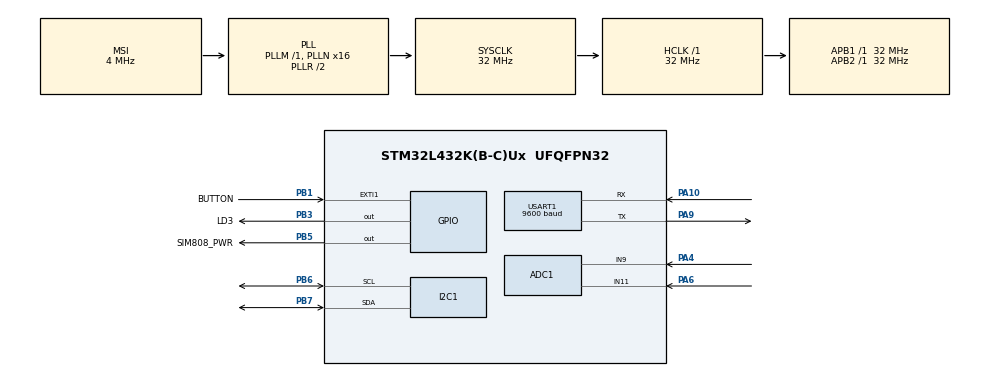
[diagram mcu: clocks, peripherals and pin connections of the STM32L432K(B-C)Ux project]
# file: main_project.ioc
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ADC1.Channel-3\#ChannelRegularConversion=ADC_CHANNEL_9
ADC1.Channel-5\#ChannelRegularConversion=ADC_CHANNEL_11
ADC1.ContinuousConvMode=ENABLE
ADC1.DMAContinuousRequests=ENABLE
ADC1.NbrOfConversion=2
ADC1.NbrOfConversionFlag=1
ADC1.OffsetNumber-3\#ChannelRegularConversion=ADC_OFFSET_NONE
ADC1.OffsetNumber-5\#ChannelRegularConversion=ADC_OFFSET_NONE
ADC1.OversamplingMode=DISABLE
ADC1.Rank-3\#ChannelRegularConversion=1
ADC1.Rank-5\#ChannelRegularConversion=2
ADC1.SamplingTime-3\#ChannelRegularConversion=ADC_SAMPLETIME_640CYCLES_5
ADC1.SamplingTime-5\#ChannelRegularConversion=ADC_SAMPLETIME_12CYCLES_5
ADC1.master=1
Dma.ADC1.0.Direction=DMA_PERIPH_TO_MEMORY
Dma.ADC1.0.Instance=DMA1_Channel1
Dma.ADC1.0.MemDataAlignment=DMA_MDATAALIGN_HALFWORD
Dma.ADC1.0.MemInc=DMA_MINC_ENABLE
Dma.ADC1.0.Mode=DMA_CIRCULAR
Dma.ADC1.0.PeriphDataAlignment=DMA_PDATAALIGN_HALFWORD
Dma.ADC1.0.PeriphInc=DMA_PINC_DISABLE
Dma.ADC1.0.Priority=DMA_PRIORITY_LOW
Dma.Request0=ADC1
Dma.Request1=USART1_RX
Dma.USART1_RX.1.Direction=DMA_PERIPH_TO_MEMORY
Dma.USART1_RX.1.Instance=DMA1_Channel5
Dma.USART1_RX.1.MemDataAlignment=DMA_MDATAALIGN_BYTE
Dma.USART1_RX.1.MemInc=DMA_MINC_ENABLE
Dma.USART1_RX.1.Mode=DMA_NORMAL
Dma.USART1_RX.1.PeriphDataAlignment=DMA_PDATAALIGN_BYTE
Dma.USART1_RX.1.PeriphInc=DMA_PINC_DISABLE
Dma.USART1_RX.1.Priority=DMA_PRIORITY_LOW
I2C1.Timing=0x00707CBB
Mcu.Family=STM32L4
Mcu.Name=STM32L432K(B-C)Ux
Mcu.Package=UFQFPN32
NVIC.DMA1_Channel1_IRQn=true\:0\:0\:false\:true\:true\:1\:false\:true
NVIC.DMA1_Channel5_IRQn=true\:0\:0\:false\:false\:true\:false\:true
NVIC.EXTI1_IRQn=true\:1\:0\:true\:false\:true\:true\:true
NVIC.I2C1_EV_IRQn=true\:0\:0\:true\:false\:true\:true\:true
NVIC.PriorityGroup=NVIC_PRIORITYGROUP_4
NVIC.RTC_WKUP_IRQn=true\:0\:0\:false\:true\:true\:2\:true\:true
NVIC.USART1_IRQn=true\:0\:0\:false\:false\:true\:true\:true
PA0.Mode=HSE-External-Clock-Source-for-LittleOrca
PA0.Signal=RCC_CK_IN
PA10.Mode=Asynchronous
PA10.Signal=USART1_RX
PA13\ (JTMS-SWDIO).Mode=Serial_Wire
PA13\ (JTMS-SWDIO).Signal=SYS_JTMS-SWDIO
PA14\ (JTCK-SWCLK).Mode=Serial_Wire
PA14\ (JTCK-SWCLK).Signal=SYS_JTCK-SWCLK
PA15\ (JTDI).GPIO_ModeDefaultPP=GPIO_MODE_AF_PP
PA15\ (JTDI).GPIO_PuPd=GPIO_NOPULL
PA15\ (JTDI).GPIO_Speed=GPIO_SPEED_FREQ_VERY_HIGH
PA15\ (JTDI).Signal=USART2_RX
PA2.GPIO_ModeDefaultPP=GPIO_MODE_AF_PP
PA2.GPIO_PuPd=GPIO_NOPULL
PA2.GPIO_Speed=GPIO_SPEED_FREQ_VERY_HIGH
PA2.Signal=USART2_TX
PA4.Signal=ADCx_IN9
PA6.Signal=ADCx_IN11
PA9.Mode=Asynchronous
PA9.Signal=USART1_TX
PB1.GPIO_Label=BUTTON
PB1.GPIO_ModeDefaultEXTI=GPIO_MODE_IT_FALLING
PB1.Signal=GPXTI1
PB3\ (JTDO-TRACESWO).GPIO_Label=LD3
PB3\ (JTDO-TRACESWO).GPIO_ModeDefaultOutputPP=GPIO_MODE_OUTPUT_PP
PB3\ (JTDO-TRACESWO).GPIO_PuPd=GPIO_NOPULL
PB3\ (JTDO-TRACESWO).GPIO_Speed=GPIO_SPEED_FREQ_LOW
PB3\ (JTDO-TRACESWO).PinState=GPIO_PIN_RESET
PB3\ (JTDO-TRACESWO).Signal=GPIO_Output
PB5.GPIO_Label=SIM808_PWR
PB5.Signal=GPIO_Output
PB6.Mode=I2C
PB6.Signal=I2C1_SCL
PB7.Mode=I2C
PB7.Signal=I2C1_SDA
PC14-OSC32_IN\ (PC14).Mode=LSE-External-Oscillator
PC14-OSC32_IN\ (PC14).Signal=RCC_OSC32_IN
PC15-OSC32_OUT\ (PC15).Mode=LSE-External-Oscillator
PC15-OSC32_OUT\ (PC15).Signal=RCC_OSC32_OUT
ProjectManager.HeapSize=0x200
ProjectManager.StackSize=0x400
ProjectManager.TargetToolchain=STM32CubeIDE
RCC.ADCFreq_Value=32000000
RCC.AHBFreq_Value=32000000
RCC.APB1Freq_Value=32000000
RCC.APB1TimFreq_Value=32000000
RCC.APB2Freq_Value=32000000
RCC.APB2TimFreq_Value=32000000
RCC.CortexFreq_Value=32000000
RCC.HCLKFreq_Value=32000000
RCC.HSE_VALUE=8000000
RCC.HSI16_VALUE=16000000
RCC.HSI48_VALUE=48000000
RCC.HSI_VALUE=16000000
RCC.MSI_VALUE=4000000
RCC.PLLMUL=RCC_PLLMUL_4
RCC.PLLN=16
RCC.PLLSAI1N=16
RCC.RTCClockSelection=RCC_RTCCLKSOURCE_LSE
RCC.SYSCLKFreq_VALUE=32000000
RCC.SYSCLKSource=RCC_SYSCLKSOURCE_PLLCLK
RCC.USBFreq_Value=32000000
RCC.VCOOutputFreq_Value=64000000
RTC.Date=12
RTC.Month=RTC_MONTH_SEPTEMBER
RTC.WeekDay=RTC_WEEKDAY_SUNDAY
RTC.Year=99
SH.ADCx_IN11.0=ADC1_IN11,IN11-Single-Ended
SH.ADCx_IN9.0=ADC1_IN9,IN9-Single-Ended
USART1.BaudRate=9600
USART1.VirtualMode-Asynchronous=VM_ASYNC
VP_RTC_VS_RTC_Activate.Mode=RTC_Enabled
VP_RTC_VS_RTC_Calendar.Mode=RTC_Calendar
VP_RTC_VS_RTC_WakeUp_intern.Mode=WakeUp
board=NUCLEO-L432KC

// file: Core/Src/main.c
/* USER CODE BEGIN Header */
/**
  ******************************************************************************
  * @file           : main.c
  * @brief          : Main program body
  ******************************************************************************
  * @attention
  *
  * <h2><center>&copy; Copyright (c) 2020 STMicroelectronics.
  * All rights reserved.</center></h2>
  *
  * This software component is licensed by ST under BSD 3-Clause license,
  * the "License"; You may not use this file except in compliance with the
  * License. You may obtain a copy of the License at:
  *                        opensource.org/licenses/BSD-3-Clause
  *
  ******************************************************************************
  */
/* USER CODE END Header */
#include "main.h"

/* USER CODE BEGIN Includes */
#include "shared_variables.h"
#include "includes.h"
#include "eeprom.h"
#include "power_modes.h"
#include "sim808.h"
#include "sensors.h"
/* USER CODE END Includes */

/* USER CODE BEGIN PM */
#define NUM_OF_MEASUREMENTS 		2
#define FILTER_BUFFER_SIZE			1000
#define MAX_ADC_VALUE				4095

//tests
#define CARBON_MONOXIDE_THIRD_TIER	1434

//debug features - logging, raw measurements...
#define DEBUG_MODE
/* USER CODE END PM */

ADC_HandleTypeDef hadc1;
DMA_HandleTypeDef hdma_adc1;

I2C_HandleTypeDef hi2c1;

RTC_HandleTypeDef hrtc;

UART_HandleTypeDef huart1;
DMA_HandleTypeDef hdma_usart1_rx;

/* USER CODE BEGIN PV */
uint16_t adc_vals[NUM_OF_MEASUREMENTS] = {0};
uint16_t measured_values[NUM_OF_MEASUREMENTS];  //in mV
double measured_values_double[NUM_OF_MEASUREMENTS];  //in mV
uint16_t filter_buffer_sensor[FILTER_BUFFER_SIZE];
uint16_t filter_buffer_battery[FILTER_BUFFER_SIZE];
uint16_t filter_counter = 0;
uint8_t filter_done = 0;

uint32_t holder[NUM_OF_MEASUREMENTS] = {0};

struct sensor_data sd;
ERRORS last_error = NULL_STATE;

#ifdef DEBUG_MODE
uint32_t holder_debug[NUM_OF_MEASUREMENTS] = {0};
#endif
/* USER CODE END PV */

void SystemClock_Config(void);
static void MX_GPIO_Init(void);
static void MX_DMA_Init(void);
static void MX_ADC1_Init(void);
static void MX_I2C1_Init(void);
static void MX_RTC_Init(void);
static void MX_USART1_UART_Init(void);
static void MX_NVIC_Init(void);
/* USER CODE BEGIN PFP */

void signal_with_diodes_ms(int num_of_loops, uint32_t ms);
void signal_error(ERRORS err);
ERRORS check_if_threshold_level_exceeded(uint16_t value);
void reinitializePeriphs();
void single_measurement(uint16_t delay_after_measurement);
void send_sms(char* text);

void HAL_GPIO_EXTI_Callback(uint16_t GPIO_Pin);
/* USER CODE END PFP */

int main(void)
{

  /* MCU Configuration--------------------------------------------------------*/

  /* Reset of all peripherals, Initializes the Flash interface and the Systick. */
  HAL_Init();

  /* Configure the system clock */
  SystemClock_Config();

  /* Initialize all configured peripherals */
  MX_GPIO_Init();
  MX_DMA_Init();
  MX_ADC1_Init();
  MX_I2C1_Init();
  MX_RTC_Init();
  MX_USART1_UART_Init();

  /* Initialize interrupts */
  MX_NVIC_Init();
  /* USER CODE BEGIN 2 */
  button_pressed = 0;

#ifdef DEBUG_MODE
  HAL_GPIO_WritePin(LD3_GPIO_Port, LD3_Pin, GPIO_PIN_SET);
#endif
  last_error=read_sensor_data_from_eeprom(&sd);
  #ifdef DEBUG_MODE
  show_read_sensor_data(&sd);
  #endif

#ifdef DEBUG_MODE
  HAL_GPIO_WritePin(LD3_GPIO_Port, LD3_Pin, GPIO_PIN_RESET);
#endif
  uint16_t max_value1 = 0;
  uint16_t carbon_monoxide_measurements[CARBON_MONOXIDE_TWO_MINUTES];
  uint16_t carbon_monoxide_measurements_buffer[CARBON_MONOXIDE_TWO_MINUTES];
  uint8_t carbon_monoxide_triggered = 0;
  double avg = 0;
  uint8_t carbon_monoxide_buffer_full = 0;
  int loop_counter = 0;
  /* USER CODE END 2 */

  /* Infinite loop */
  /* USER CODE BEGIN WHILE */
  while (1)
  {
	  if(last_error == OK)
	  {
		  if(sd.sensor_type == ETHANOL) {
			  if(!loop_counter) {
				  power_mode_sleep(&hrtc, INFINITE_SLEEP_TIME); //or just sleep until interrupt comes.
				  reinitializePeriphs();
				  avg = 0;
			  }
			  if(loop_counter != ETHANOL_LOOPS)
			  {
				  loop_counter++;
				  single_measurement(ETHANOL_DELAY_BETWEEN_MEASUREMENTS);
				  //max_value1=(measured_values[0]>max_value1)?measured_values[0]:max_value1;
				  avg+=measured_values[0];
			  }
			  else
			  {
				  avg/=ETHANOL_LOOPS;
				  loop_counter = 0;
				  char* buffer = (char*)malloc(140);
				  double holder = (avg-200)/27.65;
				  double brac = (holder/260);
				  double bac = brac*2.1;
				  sprintf(buffer,"Wynik BrAC: %.2f. Wynik BAC: %.2f", brac, bac);
//				  sprintf(buffer,"Wynik[ADC]: measured[0] %u", max_value1);
//				  send_sms(buffer);
				  button_pressed = 0;
			  }
		  }
		  else {
//			  if(loop_counter == CARBON_MONOXIDE_THREE_MINUTES)
//			  {
//				  uint32_t avg;
//				  for(int i=0;i<CARBON_MONOXIDE_THREE_MINUTES;++i)
//				  {
//					  avg+=carbon_monoxide_measurements[i];
//				  }
//				  avg /= CARBON_MONOXIDE_THREE_MINUTES;
////				  last_error = check_if_threshold_level_exceeded(avg);
//				  char* buffer = (char*)malloc(140);
//				  sprintf(buffer,"Wynik[ADC]: measured[0] %u", avg);
//				  send_sms(buffer);
//			  }
//			  else
//			  {
//				  carbon_monoxide_measurements[loop_counter] = measured_values[0];
//				  loop_counter++;
//			  }
			  power_mode_sleep(&hrtc, CARBON_MONOXIDE_SLEEP_TIME);
			  reinitializePeriphs();
			  single_measurement(STANDARD_DELAY_AFTER_MEASUREMENT);
			  if(carbon_monoxide_buffer_full)
			  {
				  for(uint8_t i=1;i<CARBON_MONOXIDE_TWO_MINUTES; ++i)
				  {
					  carbon_monoxide_measurements[i-1]=carbon_monoxide_measurements[i];
					  avg+=carbon_monoxide_measurements[i];
				  }
				  carbon_monoxide_measurements[CARBON_MONOXIDE_TWO_MINUTES-1] = measured_values[0];
				  avg+= carbon_monoxide_measurements[CARBON_MONOXIDE_TWO_MINUTES-1];
				  avg /= CARBON_MONOXIDE_TWO_MINUTES;
				  if(avg >= CARBON_MONOXIDE_THIRD_TIER)
				  {
					  HAL_GPIO_WritePin(LD3_GPIO_Port, LD3_Pin, GPIO_PIN_SET);
				  }
				  else HAL_GPIO_WritePin(LD3_GPIO_Port, LD3_Pin, GPIO_PIN_RESET);
			  }
			  else
			  {
				  carbon_monoxide_measurements[loop_counter] = measured_values[0];
				  loop_counter++;
				  if(loop_counter == CARBON_MONOXIDE_TWO_MINUTES)
					  carbon_monoxide_buffer_full=1;
			  }
		  }
	  }
	  else
	  {
		  signal_error(last_error);
		  while(1)
		  {
			  HAL_Delay(1000);
		  }
	  }
    /* USER CODE END WHILE */

  }
}

void SystemClock_Config(void)
{
  RCC_OscInitTypeDef RCC_OscInitStruct = {0};
  RCC_ClkInitTypeDef RCC_ClkInitStruct = {0};
  RCC_PeriphCLKInitTypeDef PeriphClkInit = {0};

  /** Configure LSE Drive Capability
  */
  HAL_PWR_EnableBkUpAccess();
  __HAL_RCC_LSEDRIVE_CONFIG(RCC_LSEDRIVE_LOW);
  /** Initializes the RCC Oscillators according to the specified parameters
  * in the RCC_OscInitTypeDef structure.
  */
  RCC_OscInitStruct.OscillatorType = RCC_OSCILLATORTYPE_LSE|RCC_OSCILLATORTYPE_MSI;
  RCC_OscInitStruct.LSEState = RCC_LSE_ON;
  RCC_OscInitStruct.MSIState = RCC_MSI_ON;
  RCC_OscInitStruct.MSICalibrationValue = 0;
  RCC_OscInitStruct.MSIClockRange = RCC_MSIRANGE_6;
  RCC_OscInitStruct.PLL.PLLState = RCC_PLL_ON;
  RCC_OscInitStruct.PLL.PLLSource = RCC_PLLSOURCE_MSI;
  RCC_OscInitStruct.PLL.PLLM = 1;
  RCC_OscInitStruct.PLL.PLLN = 16;
  RCC_OscInitStruct.PLL.PLLP = RCC_PLLP_DIV7;
  RCC_OscInitStruct.PLL.PLLQ = RCC_PLLQ_DIV2;
  RCC_OscInitStruct.PLL.PLLR = RCC_PLLR_DIV2;
  if (HAL_RCC_OscConfig(&RCC_OscInitStruct) != HAL_OK)
  {
    Error_Handler();
  }
  /** Initializes the CPU, AHB and APB buses clocks
  */
  RCC_ClkInitStruct.ClockType = RCC_CLOCKTYPE_HCLK|RCC_CLOCKTYPE_SYSCLK
                              |RCC_CLOCKTYPE_PCLK1|RCC_CLOCKTYPE_PCLK2;
  RCC_ClkInitStruct.SYSCLKSource = RCC_SYSCLKSOURCE_PLLCLK;
  RCC_ClkInitStruct.AHBCLKDivider = RCC_SYSCLK_DIV1;
  RCC_ClkInitStruct.APB1CLKDivider = RCC_HCLK_DIV1;
  RCC_ClkInitStruct.APB2CLKDivider = RCC_HCLK_DIV1;

  if (HAL_RCC_ClockConfig(&RCC_ClkInitStruct, FLASH_LATENCY_1) != HAL_OK)
  {
    Error_Handler();
  }
  PeriphClkInit.PeriphClockSelection = RCC_PERIPHCLK_RTC|RCC_PERIPHCLK_USART1
                              |RCC_PERIPHCLK_I2C1|RCC_PERIPHCLK_ADC;
  PeriphClkInit.Usart1ClockSelection = RCC_USART1CLKSOURCE_PCLK2;
  PeriphClkInit.I2c1ClockSelection = RCC_I2C1CLKSOURCE_PCLK1;
  PeriphClkInit.AdcClockSelection = RCC_ADCCLKSOURCE_PLLSAI1;
  PeriphClkInit.RTCClockSelection = RCC_RTCCLKSOURCE_LSE;
  PeriphClkInit.PLLSAI1.PLLSAI1Source = RCC_PLLSOURCE_MSI;
  PeriphClkInit.PLLSAI1.PLLSAI1M = 1;
  PeriphClkInit.PLLSAI1.PLLSAI1N = 16;
  PeriphClkInit.PLLSAI1.PLLSAI1P = RCC_PLLP_DIV7;
  PeriphClkInit.PLLSAI1.PLLSAI1Q = RCC_PLLQ_DIV2;
  PeriphClkInit.PLLSAI1.PLLSAI1R = RCC_PLLR_DIV2;
  PeriphClkInit.PLLSAI1.PLLSAI1ClockOut = RCC_PLLSAI1_ADC1CLK;
  if (HAL_RCCEx_PeriphCLKConfig(&PeriphClkInit) != HAL_OK)
  {
    Error_Handler();
  }
  /** Configure the main internal regulator output voltage
  */
  if (HAL_PWREx_ControlVoltageScaling(PWR_REGULATOR_VOLTAGE_SCALE1) != HAL_OK)
  {
    Error_Handler();
  }
  /** Enable MSI Auto calibration
  */
  HAL_RCCEx_EnableMSIPLLMode();
}

/**
  * @brief NVIC Configuration.
  * @retval None
  */
static void MX_NVIC_Init(void)
{
  /* DMA1_Channel1_IRQn interrupt configuration */
  HAL_NVIC_SetPriority(DMA1_Channel1_IRQn, 0, 0);
  HAL_NVIC_EnableIRQ(DMA1_Channel1_IRQn);
  /* RTC_WKUP_IRQn interrupt configuration */
  HAL_NVIC_SetPriority(RTC_WKUP_IRQn, 0, 0);
  HAL_NVIC_EnableIRQ(RTC_WKUP_IRQn);
}

static void MX_ADC1_Init(void)
{

  ADC_ChannelConfTypeDef sConfig = {0};

  /** Common config
  */
  hadc1.Instance = ADC1;
  hadc1.Init.ClockPrescaler = ADC_CLOCK_ASYNC_DIV1;
  hadc1.Init.Resolution = ADC_RESOLUTION_12B;
  hadc1.Init.DataAlign = ADC_DATAALIGN_RIGHT;
  hadc1.Init.ScanConvMode = ADC_SCAN_ENABLE;
  hadc1.Init.EOCSelection = ADC_EOC_SINGLE_CONV;
  hadc1.Init.LowPowerAutoWait = DISABLE;
  hadc1.Init.ContinuousConvMode = ENABLE;
  hadc1.Init.NbrOfConversion = 2;
  hadc1.Init.DiscontinuousConvMode = DISABLE;
  hadc1.Init.ExternalTrigConv = ADC_SOFTWARE_START;
  hadc1.Init.ExternalTrigConvEdge = ADC_EXTERNALTRIGCONVEDGE_NONE;
  hadc1.Init.DMAContinuousRequests = ENABLE;
  hadc1.Init.Overrun = ADC_OVR_DATA_PRESERVED;
  hadc1.Init.OversamplingMode = DISABLE;
  if (HAL_ADC_Init(&hadc1) != HAL_OK)
  {
    Error_Handler();
  }
  /** Configure Regular Channel
  */
  sConfig.Channel = ADC_CHANNEL_9;
  sConfig.Rank = ADC_REGULAR_RANK_1;
  sConfig.SamplingTime = ADC_SAMPLETIME_640CYCLES_5;
  sConfig.SingleDiff = ADC_SINGLE_ENDED;
  sConfig.OffsetNumber = ADC_OFFSET_NONE;
  sConfig.Offset = 0;
  if (HAL_ADC_ConfigChannel(&hadc1, &sConfig) != HAL_OK)
  {
    Error_Handler();
  }
  /** Configure Regular Channel
  */
  sConfig.Channel = ADC_CHANNEL_11;
  sConfig.Rank = ADC_REGULAR_RANK_2;
  sConfig.SamplingTime = ADC_SAMPLETIME_12CYCLES_5;
  if (HAL_ADC_ConfigChannel(&hadc1, &sConfig) != HAL_OK)
  {
    Error_Handler();
  }

}

static void MX_I2C1_Init(void)
{

  hi2c1.Instance = I2C1;
  hi2c1.Init.Timing = 0x00707CBB;
  hi2c1.Init.OwnAddress1 = 0;
  hi2c1.Init.AddressingMode = I2C_ADDRESSINGMODE_7BIT;
  hi2c1.Init.DualAddressMode = I2C_DUALADDRESS_DISABLE;
  hi2c1.Init.OwnAddress2 = 0;
  hi2c1.Init.OwnAddress2Masks = I2C_OA2_NOMASK;
  hi2c1.Init.GeneralCallMode = I2C_GENERALCALL_DISABLE;
  hi2c1.Init.NoStretchMode = I2C_NOSTRETCH_DISABLE;
  if (HAL_I2C_Init(&hi2c1) != HAL_OK)
  {
    Error_Handler();
  }
  /** Configure Analogue filter
  */
  if (HAL_I2CEx_ConfigAnalogFilter(&hi2c1, I2C_ANALOGFILTER_ENABLE) != HAL_OK)
  {
    Error_Handler();
  }
  /** Configure Digital filter
  */
  if (HAL_I2CEx_ConfigDigitalFilter(&hi2c1, 0) != HAL_OK)
  {
    Error_Handler();
  }

}

static void MX_RTC_Init(void)
{

  RTC_TimeTypeDef sTime = {0};
  RTC_DateTypeDef sDate = {0};

  /** Initialize RTC Only
  */
  hrtc.Instance = RTC;
  hrtc.Init.HourFormat = RTC_HOURFORMAT_24;
  hrtc.Init.AsynchPrediv = 127;
  hrtc.Init.SynchPrediv = 255;
  hrtc.Init.OutPut = RTC_OUTPUT_DISABLE;
  hrtc.Init.OutPutRemap = RTC_OUTPUT_REMAP_NONE;
  hrtc.Init.OutPutPolarity = RTC_OUTPUT_POLARITY_HIGH;
  hrtc.Init.OutPutType = RTC_OUTPUT_TYPE_OPENDRAIN;
  if (HAL_RTC_Init(&hrtc) != HAL_OK)
  {
    Error_Handler();
  }

  /** Initialize RTC and set the Time and Date
  */
  sTime.Hours = 0x0;
  sTime.Minutes = 0x0;
  sTime.Seconds = 0x0;
  sTime.DayLightSaving = RTC_DAYLIGHTSAVING_NONE;
  sTime.StoreOperation = RTC_STOREOPERATION_RESET;
  if (HAL_RTC_SetTime(&hrtc, &sTime, RTC_FORMAT_BCD) != HAL_OK)
  {
    Error_Handler();
  }
  sDate.WeekDay = RTC_WEEKDAY_SUNDAY;
  sDate.Month = RTC_MONTH_SEPTEMBER;
  sDate.Date = 0x12;
  sDate.Year = 0x99;

  if (HAL_RTC_SetDate(&hrtc, &sDate, RTC_FORMAT_BCD) != HAL_OK)
  {
    Error_Handler();
  }
  /** Enable the WakeUp
  */
//  if (HAL_RTCEx_SetWakeUpTimer_IT(&hrtc, 0, RTC_WAKEUPCLOCK_RTCCLK_DIV16) != HAL_OK)
//  {
//    Error_Handler();
//  }

}

static void MX_USART1_UART_Init(void)
{

  huart1.Instance = USART1;
  huart1.Init.BaudRate = 9600;
  huart1.Init.WordLength = UART_WORDLENGTH_8B;
  huart1.Init.StopBits = UART_STOPBITS_1;
  huart1.Init.Parity = UART_PARITY_NONE;
  huart1.Init.Mode = UART_MODE_TX_RX;
  huart1.Init.HwFlowCtl = UART_HWCONTROL_NONE;
  huart1.Init.OverSampling = UART_OVERSAMPLING_16;
  huart1.Init.OneBitSampling = UART_ONE_BIT_SAMPLE_DISABLE;
  huart1.AdvancedInit.AdvFeatureInit = UART_ADVFEATURE_NO_INIT;
  if (HAL_UART_Init(&huart1) != HAL_OK)
  {
    Error_Handler();
  }

}

static void MX_DMA_Init(void)
{

  /* DMA controller clock enable */
  __HAL_RCC_DMA1_CLK_ENABLE();

  /* DMA interrupt init */
  /* DMA1_Channel5_IRQn interrupt configuration */
  HAL_NVIC_SetPriority(DMA1_Channel5_IRQn, 0, 0);
  HAL_NVIC_EnableIRQ(DMA1_Channel5_IRQn);

}

static void MX_GPIO_Init(void)
{
  GPIO_InitTypeDef GPIO_InitStruct = {0};

  /* GPIO Ports Clock Enable */
  __HAL_RCC_GPIOC_CLK_ENABLE();
  __HAL_RCC_GPIOA_CLK_ENABLE();
  __HAL_RCC_GPIOB_CLK_ENABLE();
  __HAL_RCC_GPIOH_CLK_ENABLE();

  /*Configure GPIO pin Output Level */
  HAL_GPIO_WritePin(GPIOB, LD3_Pin|SIM808_PWR_Pin, GPIO_PIN_RESET);

  /*Configure GPIO pins : PA1 PA3 PA5 PA7
                           PA8 PA11 PA12 */
  GPIO_InitStruct.Pin = GPIO_PIN_1|GPIO_PIN_3|GPIO_PIN_5|GPIO_PIN_7
                          |GPIO_PIN_8|GPIO_PIN_11|GPIO_PIN_12;
  GPIO_InitStruct.Mode = GPIO_MODE_ANALOG;
  GPIO_InitStruct.Pull = GPIO_NOPULL;
  HAL_GPIO_Init(GPIOA, &GPIO_InitStruct);

  /*Configure GPIO pin : PA2 */
  GPIO_InitStruct.Pin = GPIO_PIN_2;
  GPIO_InitStruct.Mode = GPIO_MODE_AF_PP;
  GPIO_InitStruct.Pull = GPIO_NOPULL;
  GPIO_InitStruct.Speed = GPIO_SPEED_FREQ_VERY_HIGH;
  GPIO_InitStruct.Alternate = GPIO_AF7_USART2;
  HAL_GPIO_Init(GPIOA, &GPIO_InitStruct);

  /*Configure GPIO pins : PB0 PB4 */
  GPIO_InitStruct.Pin = GPIO_PIN_0|GPIO_PIN_4;
  GPIO_InitStruct.Mode = GPIO_MODE_ANALOG;
  GPIO_InitStruct.Pull = GPIO_NOPULL;
  HAL_GPIO_Init(GPIOB, &GPIO_InitStruct);

  /*Configure GPIO pin : BUTTON_Pin */
  GPIO_InitStruct.Pin = BUTTON_Pin;
  GPIO_InitStruct.Mode = GPIO_MODE_IT_FALLING;
  GPIO_InitStruct.Pull = GPIO_NOPULL;
  HAL_GPIO_Init(BUTTON_GPIO_Port, &GPIO_InitStruct);

  /*Configure GPIO pin : PA15 */
  GPIO_InitStruct.Pin = GPIO_PIN_15;
  GPIO_InitStruct.Mode = GPIO_MODE_AF_PP;
  GPIO_InitStruct.Pull = GPIO_NOPULL;
  GPIO_InitStruct.Speed = GPIO_SPEED_FREQ_VERY_HIGH;
  GPIO_InitStruct.Alternate = GPIO_AF3_USART2;
  HAL_GPIO_Init(GPIOA, &GPIO_InitStruct);

  /*Configure GPIO pins : LD3_Pin SIM808_PWR_Pin */
  GPIO_InitStruct.Pin = LD3_Pin|SIM808_PWR_Pin;
  GPIO_InitStruct.Mode = GPIO_MODE_OUTPUT_PP;
  GPIO_InitStruct.Pull = GPIO_NOPULL;
  GPIO_InitStruct.Speed = GPIO_SPEED_FREQ_LOW;
  HAL_GPIO_Init(GPIOB, &GPIO_InitStruct);

  /*Configure GPIO pin : PH3 */
  GPIO_InitStruct.Pin = GPIO_PIN_3;
  GPIO_InitStruct.Mode = GPIO_MODE_ANALOG;
  GPIO_InitStruct.Pull = GPIO_NOPULL;
  HAL_GPIO_Init(GPIOH, &GPIO_InitStruct);

  /* EXTI interrupt init*/
  HAL_NVIC_SetPriority(EXTI1_IRQn, 1, 0);
  HAL_NVIC_EnableIRQ(EXTI1_IRQn);

}

/* USER CODE BEGIN 4 */
void reinitializePeriphs()
{
	SystemClock_Config();
	MX_GPIO_Init();
	MX_ADC1_Init();
	MX_I2C1_Init();
	MX_DMA_Init();
	HAL_UART_MspInit(&huart1);
	MX_USART1_UART_Init();
//	HAL_UART_MspInit(&huart2);
//	MX_USART2_UART_Init();
}

/*
 * TODO
 * leave one port/PIN for Ethanol sensor to wake up from the button press
 */
void GPIO_AnalogState_Config()
{
	GPIO_InitTypeDef GPIO_InitStruct;

	__HAL_RCC_GPIOA_CLK_ENABLE();
	__HAL_RCC_GPIOB_CLK_ENABLE();
	__HAL_RCC_GPIOC_CLK_ENABLE();
	__HAL_RCC_GPIOH_CLK_ENABLE();

	GPIO_InitStruct.Mode = GPIO_MODE_ANALOG;
	GPIO_InitStruct.Speed = GPIO_SPEED_FREQ_VERY_HIGH;
	GPIO_InitStruct.Pull = GPIO_NOPULL;

	GPIO_InitStruct.Pin = GPIO_PIN_All & ~(GPIO_PIN_13 | GPIO_PIN_14);
	HAL_GPIO_Init(GPIOA, &GPIO_InitStruct);
	GPIO_InitStruct.Pin = GPIO_PIN_All & ~(BUTTON_Pin);
	HAL_GPIO_Init(GPIOB, &GPIO_InitStruct);
	HAL_GPIO_Init(GPIOC, &GPIO_InitStruct);
	HAL_GPIO_Init(GPIOH, &GPIO_InitStruct);

	__HAL_RCC_GPIOA_CLK_DISABLE();
	__HAL_RCC_GPIOB_CLK_DISABLE();
	__HAL_RCC_GPIOC_CLK_DISABLE();
	__HAL_RCC_GPIOH_CLK_DISABLE();
}

void SystemClock_Low(void)
{
  RCC_ClkInitTypeDef RCC_ClkInitStruct = {0};
  RCC_OscInitTypeDef RCC_OscInitStruct = {0};

  /* MSI is enabled after System reset, update MSI to 24Mhz (RCC_MSIRANGE_9) */
  RCC_OscInitStruct.OscillatorType = RCC_OSCILLATORTYPE_MSI;
  RCC_OscInitStruct.MSIState = RCC_MSI_ON;
  RCC_OscInitStruct.MSIClockRange = RCC_MSIRANGE_0;
  RCC_OscInitStruct.MSICalibrationValue = RCC_MSICALIBRATION_DEFAULT;
  RCC_OscInitStruct.PLL.PLLState = RCC_PLL_OFF;
  if(HAL_RCC_OscConfig(&RCC_OscInitStruct) != HAL_OK)
  {
    /* Initialization Error */
    Error_Handler();
  }

  /* Select MSI as system clock source and configure the HCLK, PCLK1 and PCLK2
     clocks dividers */
  RCC_ClkInitStruct.ClockType = (RCC_CLOCKTYPE_SYSCLK | RCC_CLOCKTYPE_HCLK | RCC_CLOCKTYPE_PCLK1 | RCC_CLOCKTYPE_PCLK2);
  RCC_ClkInitStruct.SYSCLKSource = RCC_SYSCLKSOURCE_MSI;
  RCC_ClkInitStruct.AHBCLKDivider = RCC_SYSCLK_DIV1;
  RCC_ClkInitStruct.APB1CLKDivider = RCC_HCLK_DIV1;
  RCC_ClkInitStruct.APB2CLKDivider = RCC_HCLK_DIV1;
  if(HAL_RCC_ClockConfig(&RCC_ClkInitStruct, FLASH_LATENCY_3) != HAL_OK)
  {
    /* Initialization Error */
    Error_Handler();
  }

}

void HAL_ADC_ConvCpltCallback(ADC_HandleTypeDef* hadc)
{
		if(!filter_done)
		{
			filter_buffer_sensor[filter_counter] = adc_vals[0];
			filter_buffer_battery[filter_counter] = adc_vals[1];

			if(filter_counter == FILTER_BUFFER_SIZE-1)
			{
				for(int i=0;i<FILTER_BUFFER_SIZE;++i)
				{
					holder[0] += filter_buffer_sensor[i];
					holder[1] += filter_buffer_battery[i];
				}
				for(int i=0;i<NUM_OF_MEASUREMENTS;++i)
				{
					measured_values_double[i] = 54 + ((holder[i]/FILTER_BUFFER_SIZE)*3300)/MAX_ADC_VALUE;
					measured_values[i] = (uint16_t)measured_values_double[i];
					holder[i] = 0;
				}
				filter_done = 1;
				filter_counter = 0;
			}
			else
				filter_counter++;
		}
		else
		{
			//do nothing
		}
}

void signal_with_diodes_ms(int num_of_loops, uint32_t ms)
{
	for(int i=0;i<num_of_loops;++i)
	{
		HAL_GPIO_WritePin(LD3_GPIO_Port, LD3_Pin, GPIO_PIN_SET);
		HAL_Delay(ms);
		HAL_GPIO_WritePin(LD3_GPIO_Port, LD3_Pin, GPIO_PIN_RESET);
		HAL_Delay(ms);
	}
}

void signal_error(ERRORS err)
{
	signal_with_diodes_ms(err, 1000);
}

ERRORS check_if_threshold_level_exceeded(uint16_t value)
{
	if(value < sd.threshold) return OK;
	else return THRESHOLD_LEVEL_EXCEEDED;
}

void single_measurement(uint16_t delay_after_measurement) {

	HAL_ADC_Start_DMA(&hadc1,(uint32_t*)adc_vals, 2);
	while(!filter_done){}
	HAL_ADC_Stop_DMA(&hadc1);
	filter_done = 0;
	HAL_GPIO_WritePin(LD3_GPIO_Port, LD3_Pin, GPIO_PIN_SET);
	HAL_Delay(delay_after_measurement);
	HAL_GPIO_WritePin(LD3_GPIO_Port, LD3_Pin, GPIO_PIN_RESET);
}

void send_sms(char* text)
{
	sim808_power_on();
	if((last_error = sim808_establish_baudrate()) != OK)
	{
		sim808_power_off();
		return;
	}
	if((last_error = sim808_init()) != OK)
	{
		sim808_power_off();
		return;
	}
	if((last_error = sim808_send_sms(text)) != OK)
	{
		sim808_power_off();
		return;
	}
	sim808_power_off();
}
/**
  * @brief  Alarm callback
  * @param  hrtc : RTC handle
  * @retval None
  */

//void HAL_RTC_WakeUpTimerEventCallback(RTC_HandleTypeDef *hrtc)
//{
//	HAL_ResumeTick();
//	HAL_RTCEx_DeactivateWakeUpTimer(hrtc);
//	SystemClock_Config();
//	MX_GPIO_Init();
//}

void HAL_GPIO_EXTI_Callback(uint16_t GPIO_Pin) {
	if(GPIO_Pin == BUTTON_Pin) {
		button_pressed = 1;
	}
}

/* USER CODE END 4 */

void Error_Handler(void)
{
  /* USER CODE BEGIN Error_Handler_Debug */
  /* User can add his own implementation to report the HAL error return state */
//	signal_with_diodes_ms(10,200);
  /* USER CODE END Error_Handler_Debug */
}

/************************ (C) COPYRIGHT STMicroelectronics *****END OF FILE****/
